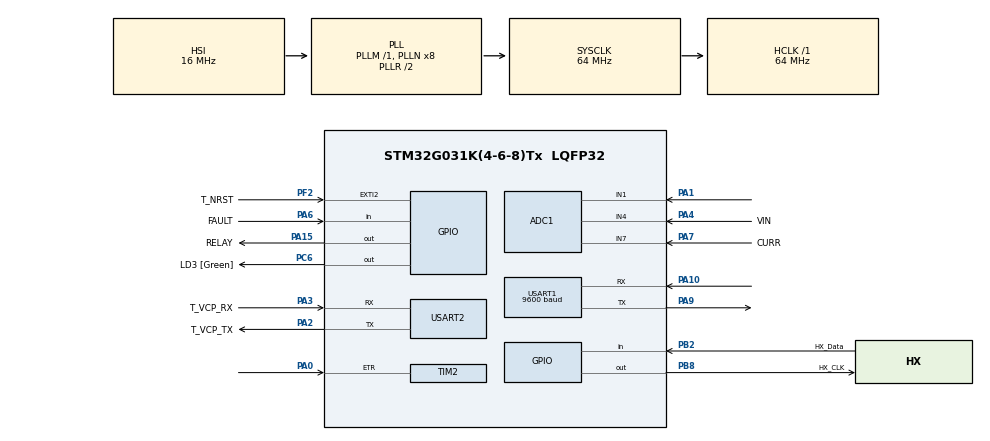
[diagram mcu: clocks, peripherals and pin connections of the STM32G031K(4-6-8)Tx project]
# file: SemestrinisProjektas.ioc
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ADC1.Channel-11\#ChannelRegularConversion=ADC_CHANNEL_1
ADC1.Channel-12\#ChannelRegularConversion=ADC_CHANNEL_7
ADC1.Channel-8\#ChannelRegularConversion=ADC_CHANNEL_4
ADC1.ContinuousConvMode=ENABLE
ADC1.EOCSelection=ADC_EOC_SINGLE_CONV
ADC1.NbrOfConversion=3
ADC1.NbrOfConversionFlag=1
ADC1.Rank-11\#ChannelRegularConversion=2
ADC1.Rank-12\#ChannelRegularConversion=3
ADC1.Rank-8\#ChannelRegularConversion=1
ADC1.SamplingTime-11\#ChannelRegularConversion=ADC_SAMPLINGTIME_COMMON_1
ADC1.SamplingTime-12\#ChannelRegularConversion=ADC_SAMPLINGTIME_COMMON_1
ADC1.SamplingTime-8\#ChannelRegularConversion=ADC_SAMPLINGTIME_COMMON_1
ADC1.SamplingTimeCommon1=ADC_SAMPLETIME_3CYCLES_5
ADC1.SamplingTimeCommon2=ADC_SAMPLETIME_3CYCLES_5
ADC1.SelectedChannel=ADC_CHANNEL_1|ADC_CHANNEL_4|ADC_CHANNEL_7
ADC1.master=1
Dma.ADC1.0.Direction=DMA_PERIPH_TO_MEMORY
Dma.ADC1.0.EventEnable=DISABLE
Dma.ADC1.0.Instance=DMA1_Channel1
Dma.ADC1.0.MemDataAlignment=DMA_MDATAALIGN_WORD
Dma.ADC1.0.MemInc=DMA_MINC_ENABLE
Dma.ADC1.0.Mode=DMA_CIRCULAR
Dma.ADC1.0.PeriphDataAlignment=DMA_PDATAALIGN_WORD
Dma.ADC1.0.PeriphInc=DMA_PINC_DISABLE
Dma.ADC1.0.Polarity=HAL_DMAMUX_REQ_GEN_RISING
Dma.ADC1.0.Priority=DMA_PRIORITY_LOW
Dma.ADC1.0.RequestNumber=1
Dma.ADC1.0.SignalID=NONE
Dma.ADC1.0.SyncEnable=DISABLE
Dma.ADC1.0.SyncPolarity=HAL_DMAMUX_SYNC_NO_EVENT
Dma.ADC1.0.SyncRequestNumber=1
Dma.ADC1.0.SyncSignalID=NONE
Dma.Request0=ADC1
Mcu.Family=STM32G0
Mcu.Name=STM32G031K(4-6-8)Tx
Mcu.Package=LQFP32
NVIC.DMA1_Channel1_IRQn=true\:0\:0\:false\:false\:true\:false\:true\:true
NVIC.TIM2_IRQn=true\:0\:0\:false\:false\:true\:true\:true\:true
NVIC.USART1_IRQn=true\:0\:0\:false\:false\:true\:true\:true\:true
NVIC.USART2_IRQn=true\:0\:0\:false\:false\:true\:true\:true\:true
PA0.Signal=S_TIM2_CH1_ETR
PA1.Mode=IN1
PA1.Signal=ADC1_IN1
PA10.Mode=Asynchronous
PA10.Signal=USART1_RX
PA13.GPIO_Label=T_JTMS
PA13.Mode=Serial_Wire
PA13.Signal=SYS_SWDIO
PA14-BOOT0.GPIO_Label=T_JTCK
PA14-BOOT0.Mode=Serial_Wire
PA14-BOOT0.Signal=SYS_SWCLK
PA15.GPIO_Label=RELAY
PA15.GPIO_ModeDefaultOutputPP=GPIO_MODE_OUTPUT_OD
PA15.GPIO_PuPd=GPIO_NOPULL
PA15.Signal=GPIO_Output
PA2.GPIO_Label=T_VCP_TX
PA2.GPIO_PuPd=GPIO_PULLUP
PA2.Mode=Asynchronous
PA2.Signal=USART2_TX
PA3.GPIO_Label=T_VCP_RX
PA3.GPIO_PuPd=GPIO_PULLUP
PA3.Mode=Asynchronous
PA3.Signal=USART2_RX
PA4.GPIO_Label=VIN
PA4.Mode=IN4
PA4.Signal=ADC1_IN4
PA6.GPIO_Label=FAULT
PA6.Signal=GPIO_Input
PA7.GPIO_Label=CURR
PA7.Mode=IN7
PA7.Signal=ADC1_IN7
PA9.Mode=Asynchronous
PA9.Signal=USART1_TX
PB2.GPIO_Label=HX_Data
PB2.Signal=GPIO_Input
PB8.GPIO_Label=HX_CLK
PB8.Signal=GPIO_Output
PC14-OSC32_IN\ (PC14).Mode=LSE-External-Oscillator
PC14-OSC32_IN\ (PC14).Signal=RCC_OSC32_IN
PC15-OSC32_OUT\ (PC15).Mode=LSE-External-Oscillator
PC15-OSC32_OUT\ (PC15).Signal=RCC_OSC32_OUT
PC6.GPIO_Label=LD3 [Green]
PC6.Signal=GPIO_Output
PF2\ -\ NRST.GPIO_Label=T_NRST
PF2\ -\ NRST.Signal=GPXTI2
ProjectManager.HeapSize=0x200
ProjectManager.StackSize=0x400
ProjectManager.TargetToolchain=STM32CubeIDE
RCC.ADCFreq_Value=64000000
RCC.AHBFreq_Value=64000000
RCC.CortexFreq_Value=64000000
RCC.EXTERNAL_CLOCK_VALUE=12288000
RCC.HCLKFreq_Value=64000000
RCC.HSE_VALUE=8000000
RCC.HSI_VALUE=16000000
RCC.SYSCLKFreq_VALUE=64000000
RCC.SYSCLKSource=RCC_SYSCLKSOURCE_PLLCLK
RCC.VCOOutputFreq_Value=128000000
SH.S_TIM2_CH1_ETR.0=TIM2_ETR,ClockSourceETR_Mode2
TIM16.Prescaler=6400-1
TIM17.Prescaler=6400-1
TIM2.AutoReloadPreload=TIM_AUTORELOAD_PRELOAD_ENABLE
USART1.BaudRate=9600
USART1.VirtualMode-Asynchronous=VM_ASYNC
USART2.VirtualMode-Asynchronous=VM_ASYNC
USART2.WordLength=WORDLENGTH_8B
VP_TIM16_VS_ClockSourceINT.Mode=Enable_Timer
VP_TIM17_VS_ClockSourceINT.Mode=Enable_Timer
board=NUCLEO-G031K8

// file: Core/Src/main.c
/* USER CODE BEGIN Header */
/**
  ******************************************************************************
  * @file           : main.c
  * @brief          : Main program body
  ******************************************************************************
  * @attention
  *
  * Copyright (c) 2024 STMicroelectronics.
  * All rights reserved.
  *
  * This software is licensed under terms that can be found in the LICENSE file
  * in the root directory of this software component.
  * If no LICENSE file comes with this software, it is provided AS-IS.
  *
  ******************************************************************************
  */
/* USER CODE END Header */
#include "main.h"

/* USER CODE BEGIN Includes */
#include "Nextion.h"
#include <HX711.h>
#include <stdio.h>
#include <math.h>
/* USER CODE END Includes */

ADC_HandleTypeDef hadc1;
DMA_HandleTypeDef hdma_adc1;

TIM_HandleTypeDef htim2;
TIM_HandleTypeDef htim16;
TIM_HandleTypeDef htim17;

UART_HandleTypeDef huart1;
UART_HandleTypeDef huart2;

void SystemClock_Config(void);
static void MX_GPIO_Init(void);
static void MX_DMA_Init(void);
static void MX_USART2_UART_Init(void);
static void MX_USART1_UART_Init(void);
static void MX_ADC1_Init(void);
static void MX_TIM2_Init(void);
static void MX_TIM16_Init(void);
static void MX_TIM17_Init(void);

/* USER CODE BEGIN 0 */

//NEXTION variables
Nextion nextion;

NexComp button1; //ON Button
NexComp button2; //Reset Button
NexComp nexText1;

NexComp currV; //current variable
NexComp tempV; //temperature variable
NexComp vinV; //VIN variable
NexComp RPMV; //RPM variable
NexComp TorqueV; //Torque variable

NexComp MaxcurrV; //MAX current variable
NexComp MaxRPMV; //RPM variable
NexComp MaxTorqueV; //Torque variable

hx711_t hx711;
hx711_t hx711b;

int example;
int abc;
char myChar[20];

uint32_t value[3];

uint8_t adc_conv_complete_flag = 0;

double MaxRPM=0, RPM; //RPM variables
const float encoder_koef = 1; //koef*period = pulses per second. Encoder - 100pulses / rotation
const uint32_t encoder_sample_period = 1000; //filtering period in ms

float Torque=0, MaxCurr=0, MaxTorque=0; //

float R1 = 100000; //100k resistor next to the thermistor. Thermistor is NTC3950 100k
float logR2, R2, T;
float c1 = 1.009249522e-03, c2 = 2.378405444e-04, c3 = 2.019202697e-07; //logorithms to convert ADC voltage to temperature

int avg_size = 10;
float V_0 = 3.3; // voltage reference

// first resistance value for voltage divider
float R_1 = 100000.0;
// fit coefficients
float a = 283786.2;
float b = 0.06593;
float c = 49886.0;

#define ADC_Res 4096 //12bit 2^12=4096

#define VIN_Max 16 //Max VIN of the resistor divider (R1 = 20k, R2 =5.1k) to have max 16v at 3.3vs
#define VIN_Step 0.00390625 // Vin_Max/ADC_Res

#define CurrDiv 0.068 //68mV is 1A of current
#define Curr_Ref 3005 //ADC while current is 0A

#define Vref_Step 0.0008076171875 //ADC on step voltage at 3.3Vref

#define ArmLength 5.3 //Arm length of the motor to press the loadcell

uint8_t data[100];
volatile uint8_t uart_tx_complete = 0;

void HAL_UART_TxCpltCallback(UART_HandleTypeDef *huart)
{
	if (huart->Instance == USART2) {
	        uart_tx_complete = 1;
	    }
}

void HAL_ADC_ConvCpltCallback(ADC_HandleTypeDef* hadc){
	adc_conv_complete_flag = 1;
}
void HAL_UART_RxCpltCallback(UART_HandleTypeDef *huart){
	NextionUpdate(&huart1, &nextion);
}
void buttonCallback(){
	HAL_GPIO_TogglePin(RELAY_GPIO_Port, RELAY_Pin);
}
void ResetVariable(){
	MaxRPM=0;
	MaxCurr=0;
	MaxTorque=0;
}

void init_weight(hx711_t *hx711){
	char buffer[128] = {0};
	sprintf(buffer,"HX711 initialization\n\r");
	HAL_UART_Transmit(&huart2, (uint8_t *)(buffer), sizeof(buffer), 100);
	hx711_init(hx711, GPIOB, GPIO_PIN_8, GPIOB, GPIO_PIN_2); //HX711 CLK on PA1, Data on PA4
	set_gain(hx711, 128, 32); //setting gain for ch A ir B
	set_scale(hx711, -225.245, -10.98); //scale factor
	tare_all(hx711, 10); //tare

	sprintf(buffer,"HX711 module has been initialized\n\r");
	HAL_UART_Transmit(&huart2, (uint8_t *)(buffer), sizeof(buffer), 100);
}

float measure_weight(hx711_t hx711){
	float weightA = 0;
	weightA = get_weight(&hx711, 1, CHANNEL_A); //measure weight
	weightA = (weightA < 0) ? 0 : weightA; //cannot get into negative
	return weightA;
}

void doEncoder(TIM_HandleTypeDef *htim){
	static uint32_t lastTicks = 0;
	static uint32_t lastCount = 0;
	uint32_t ticks = HAL_GetTick();

	if(ticks - lastTicks > encoder_sample_period){
		lastTicks = ticks;
		uint32_t count = TIM2->CNT;
		double tmp = count - lastCount;
		lastCount = count;
		RPM = (tmp / 100)*60; //Tmp 100==1rotation, *
	}
}

/* USER CODE END 0 */

int main(void)
{

  /* USER CODE BEGIN 1 */
	uint16_t timer_val;
	uint16_t timer1_val;
  /* USER CODE END 1 */

  /* MCU Configuration--------------------------------------------------------*/

  /* Reset of all peripherals, Initializes the Flash interface and the Systick. */
  HAL_Init();

  /* Configure the system clock */
  SystemClock_Config();

  /* Initialize all configured peripherals */
  MX_GPIO_Init();
  MX_DMA_Init();
  MX_USART2_UART_Init();
  MX_USART1_UART_Init();
  MX_ADC1_Init();
  MX_TIM2_Init();
  MX_TIM16_Init();
  MX_TIM17_Init();
  /* USER CODE BEGIN 2 */
  HAL_TIM_Base_Start_IT(&htim2);
  //HAL_TIM_Base_Start(&htim2);
  //HAL_TIM_Encoder_Start_IT(&htim2, TIM_CHANNEL_ALL);
  init_weight(&hx711);

  NextionInit(&nextion, &huart1);

  NextionAddComp(&nextion, &button1, "b0", 0, 1, buttonCallback, NULL); //ON button
  NextionAddComp(&nextion, &button2, "b1", 0, 5, ResetVariable, NULL); //Reset button
  NextionAddComp(&nextion, &currV, "t12", 0, 16, NULL, NULL); //Current variable
  NextionAddComp(&nextion, &tempV, "t10", 0, 14, NULL, NULL); //Temp variable
  NextionAddComp(&nextion, &vinV, "t11", 0, 15, NULL, NULL); //Vin variable
  NextionAddComp(&nextion, &RPMV, "t8", 0, 12, NULL, NULL); //RPM variable
  NextionAddComp(&nextion, &TorqueV, "t14", 0, 18, NULL, NULL); //Torque variable
  NextionAddComp(&nextion, &MaxcurrV, "t13", 0, 17, NULL, NULL); //Max current variable
  NextionAddComp(&nextion, &MaxRPMV, "t9", 0, 13, NULL, NULL); //Max RPM variable
  NextionAddComp(&nextion, &MaxTorqueV, "t15", 0, 19, NULL, NULL); //Max torque variable

  HAL_ADC_Start_DMA(&hadc1, value, 3); // start adc in DMA mode

  HAL_TIM_Base_Start(&htim16); //start nextion update timer
  timer_val = __HAL_TIM_GET_COUNTER(&htim16);

  HAL_TIM_Base_Start(&htim17); //start uart update timer
  timer1_val = __HAL_TIM_GET_COUNTER(&htim17);
  /* USER CODE END 2 */

  /* Infinite loop */
  /* USER CODE BEGIN WHILE */
  while (1)
  {
	//HAL_ADC_Start_DMA(&hadc1, value, 3);
    /* USER CODE END WHILE */

    /* USER CODE BEGIN 3 */
	 doEncoder(&htim2);

	  float weight = measure_weight(hx711);
	  Torque = weight/1000 * ArmLength;

	  HAL_ADC_Start_DMA(&hadc1, value, 3); // start adc in DMA mode
/*
	  R2 = R1 * (4096.0 / (float)value[1] - 1.0);
	  logR2 = log(R2);
	  T = (1.0 / (c1 + c2*logR2 + c3*logR2*logR2*logR2));
	  T = T - 273.15;
	  T = ((T * 9.0)/ 5.0 + 32.0) *-1;
	  */
	  float voltage = ((float)value[1]/4096.0)*V_0;
	  T=(-1.0/b)*(log(((R_1*voltage)/(a*(V_0-voltage)))-(c/a)));

	  float Vin = value[0] * VIN_Step; //convert ADC to voltage
	  float Curr = ((Curr_Ref*Vref_Step) - (value[2]*Vref_Step))/CurrDiv;

	  if(Curr > MaxCurr)
	  	MaxCurr = Curr;
	  if(RPM > MaxRPM)
	  	MaxRPM = RPM;
	  if(Torque > MaxTorque)
	  	MaxTorque = Torque;

	  if (__HAL_TIM_GET_COUNTER(&htim16) - timer_val >= 5000){ //64kHz/6400-1 =10kHz, update screen every x ms*10, so 500ms=5000
		  if(adc_conv_complete_flag == 1){
			  sprintf(myChar, "%0.2f", Torque);
			  NextionSetText(&nextion, &TorqueV, myChar);

			  sprintf(myChar, "%0.2f", Vin);
			  NextionSetText(&nextion, &vinV, myChar);
			  sprintf(myChar, "%0.2f", Curr);
			  NextionSetText(&nextion, &currV, myChar);
			  sprintf(myChar, "%0.1f", T);
			  NextionSetText(&nextion, &tempV, myChar);
			  sprintf(myChar, "%0.1f", RPM);
		  	  NextionSetText(&nextion, &RPMV, myChar);

		  	  sprintf(myChar, "%0.1f", MaxRPM);
		  	  NextionSetText(&nextion, &MaxRPMV, myChar);
		  	  sprintf(myChar, "%0.2f", MaxCurr);
		  	  NextionSetText(&nextion, &MaxcurrV, myChar);
		  	  sprintf(myChar, "%0.2f", MaxTorque);
		  	  NextionSetText(&nextion, &MaxTorqueV, myChar);

		  	  adc_conv_complete_flag = 0;
		  	  timer_val = __HAL_TIM_GET_COUNTER(&htim16);
		  }
	  }

	  if (__HAL_TIM_GET_COUNTER(&htim17) - timer1_val >= 1000){ //64kHz/6400-1 =10kHz, update screen every x ms*10, so 100ms=1000
		  snprintf(data, sizeof(data), "RPM: %.2f  Vin: %.2f Curr: %.2f Temp: %.2f\r\n", RPM, Vin, Curr, T);
		  HAL_UART_Transmit_IT(&huart2, (uint8_t*)data, strlen(data));
		  timer1_val = __HAL_TIM_GET_COUNTER(&htim17);
	  }
  }
  /* USER CODE END 3 */
}

void SystemClock_Config(void)
{
  RCC_OscInitTypeDef RCC_OscInitStruct = {0};
  RCC_ClkInitTypeDef RCC_ClkInitStruct = {0};

  /** Configure the main internal regulator output voltage
  */
  HAL_PWREx_ControlVoltageScaling(PWR_REGULATOR_VOLTAGE_SCALE1);

  /** Initializes the RCC Oscillators according to the specified parameters
  * in the RCC_OscInitTypeDef structure.
  */
  RCC_OscInitStruct.OscillatorType = RCC_OSCILLATORTYPE_HSI;
  RCC_OscInitStruct.HSIState = RCC_HSI_ON;
  RCC_OscInitStruct.HSIDiv = RCC_HSI_DIV1;
  RCC_OscInitStruct.HSICalibrationValue = RCC_HSICALIBRATION_DEFAULT;
  RCC_OscInitStruct.PLL.PLLState = RCC_PLL_ON;
  RCC_OscInitStruct.PLL.PLLSource = RCC_PLLSOURCE_HSI;
  RCC_OscInitStruct.PLL.PLLM = RCC_PLLM_DIV1;
  RCC_OscInitStruct.PLL.PLLN = 8;
  RCC_OscInitStruct.PLL.PLLP = RCC_PLLP_DIV2;
  RCC_OscInitStruct.PLL.PLLQ = RCC_PLLQ_DIV2;
  RCC_OscInitStruct.PLL.PLLR = RCC_PLLR_DIV2;
  if (HAL_RCC_OscConfig(&RCC_OscInitStruct) != HAL_OK)
  {
    Error_Handler();
  }

  /** Initializes the CPU, AHB and APB buses clocks
  */
  RCC_ClkInitStruct.ClockType = RCC_CLOCKTYPE_HCLK|RCC_CLOCKTYPE_SYSCLK
                              |RCC_CLOCKTYPE_PCLK1;
  RCC_ClkInitStruct.SYSCLKSource = RCC_SYSCLKSOURCE_PLLCLK;
  RCC_ClkInitStruct.AHBCLKDivider = RCC_SYSCLK_DIV1;
  RCC_ClkInitStruct.APB1CLKDivider = RCC_HCLK_DIV1;

  if (HAL_RCC_ClockConfig(&RCC_ClkInitStruct, FLASH_LATENCY_2) != HAL_OK)
  {
    Error_Handler();
  }
}

static void MX_ADC1_Init(void)
{

  ADC_ChannelConfTypeDef sConfig = {0};

  /** Configure the global features of the ADC (Clock, Resolution, Data Alignment and number of conversion)
  */
  hadc1.Instance = ADC1;
  hadc1.Init.ClockPrescaler = ADC_CLOCK_SYNC_PCLK_DIV2;
  hadc1.Init.Resolution = ADC_RESOLUTION_12B;
  hadc1.Init.DataAlign = ADC_DATAALIGN_RIGHT;
  hadc1.Init.ScanConvMode = ADC_SCAN_ENABLE;
  hadc1.Init.EOCSelection = ADC_EOC_SINGLE_CONV;
  hadc1.Init.LowPowerAutoWait = DISABLE;
  hadc1.Init.LowPowerAutoPowerOff = DISABLE;
  hadc1.Init.ContinuousConvMode = ENABLE;
  hadc1.Init.NbrOfConversion = 3;
  hadc1.Init.ExternalTrigConv = ADC_SOFTWARE_START;
  hadc1.Init.ExternalTrigConvEdge = ADC_EXTERNALTRIGCONVEDGE_NONE;
  hadc1.Init.DMAContinuousRequests = DISABLE;
  hadc1.Init.Overrun = ADC_OVR_DATA_PRESERVED;
  hadc1.Init.SamplingTimeCommon1 = ADC_SAMPLETIME_3CYCLES_5;
  hadc1.Init.SamplingTimeCommon2 = ADC_SAMPLETIME_3CYCLES_5;
  hadc1.Init.OversamplingMode = DISABLE;
  hadc1.Init.TriggerFrequencyMode = ADC_TRIGGER_FREQ_HIGH;
  if (HAL_ADC_Init(&hadc1) != HAL_OK)
  {
    Error_Handler();
  }

  /** Configure Regular Channel
  */
  sConfig.Channel = ADC_CHANNEL_4;
  sConfig.Rank = ADC_REGULAR_RANK_1;
  sConfig.SamplingTime = ADC_SAMPLINGTIME_COMMON_1;
  if (HAL_ADC_ConfigChannel(&hadc1, &sConfig) != HAL_OK)
  {
    Error_Handler();
  }

  /** Configure Regular Channel
  */
  sConfig.Channel = ADC_CHANNEL_1;
  sConfig.Rank = ADC_REGULAR_RANK_2;
  if (HAL_ADC_ConfigChannel(&hadc1, &sConfig) != HAL_OK)
  {
    Error_Handler();
  }

  /** Configure Regular Channel
  */
  sConfig.Channel = ADC_CHANNEL_7;
  sConfig.Rank = ADC_REGULAR_RANK_3;
  if (HAL_ADC_ConfigChannel(&hadc1, &sConfig) != HAL_OK)
  {
    Error_Handler();
  }

}

static void MX_TIM2_Init(void)
{

  TIM_ClockConfigTypeDef sClockSourceConfig = {0};
  TIM_MasterConfigTypeDef sMasterConfig = {0};

  htim2.Instance = TIM2;
  htim2.Init.Prescaler = 0;
  htim2.Init.CounterMode = TIM_COUNTERMODE_UP;
  htim2.Init.Period = 4294967295;
  htim2.Init.ClockDivision = TIM_CLOCKDIVISION_DIV1;
  htim2.Init.AutoReloadPreload = TIM_AUTORELOAD_PRELOAD_ENABLE;
  if (HAL_TIM_Base_Init(&htim2) != HAL_OK)
  {
    Error_Handler();
  }
  sClockSourceConfig.ClockSource = TIM_CLOCKSOURCE_ETRMODE2;
  sClockSourceConfig.ClockPolarity = TIM_CLOCKPOLARITY_NONINVERTED;
  sClockSourceConfig.ClockPrescaler = TIM_CLOCKPRESCALER_DIV1;
  sClockSourceConfig.ClockFilter = 0;
  if (HAL_TIM_ConfigClockSource(&htim2, &sClockSourceConfig) != HAL_OK)
  {
    Error_Handler();
  }
  sMasterConfig.MasterOutputTrigger = TIM_TRGO_RESET;
  sMasterConfig.MasterSlaveMode = TIM_MASTERSLAVEMODE_DISABLE;
  if (HAL_TIMEx_MasterConfigSynchronization(&htim2, &sMasterConfig) != HAL_OK)
  {
    Error_Handler();
  }

}

static void MX_TIM16_Init(void)
{

  htim16.Instance = TIM16;
  htim16.Init.Prescaler = 6400-1;
  htim16.Init.CounterMode = TIM_COUNTERMODE_UP;
  htim16.Init.Period = 65535;
  htim16.Init.ClockDivision = TIM_CLOCKDIVISION_DIV1;
  htim16.Init.RepetitionCounter = 0;
  htim16.Init.AutoReloadPreload = TIM_AUTORELOAD_PRELOAD_DISABLE;
  if (HAL_TIM_Base_Init(&htim16) != HAL_OK)
  {
    Error_Handler();
  }

}

static void MX_TIM17_Init(void)
{

  htim17.Instance = TIM17;
  htim17.Init.Prescaler = 6400-1;
  htim17.Init.CounterMode = TIM_COUNTERMODE_UP;
  htim17.Init.Period = 65535;
  htim17.Init.ClockDivision = TIM_CLOCKDIVISION_DIV1;
  htim17.Init.RepetitionCounter = 0;
  htim17.Init.AutoReloadPreload = TIM_AUTORELOAD_PRELOAD_DISABLE;
  if (HAL_TIM_Base_Init(&htim17) != HAL_OK)
  {
    Error_Handler();
  }

}

static void MX_USART1_UART_Init(void)
{

  huart1.Instance = USART1;
  huart1.Init.BaudRate = 9600;
  huart1.Init.WordLength = UART_WORDLENGTH_8B;
  huart1.Init.StopBits = UART_STOPBITS_1;
  huart1.Init.Parity = UART_PARITY_NONE;
  huart1.Init.Mode = UART_MODE_TX_RX;
  huart1.Init.HwFlowCtl = UART_HWCONTROL_NONE;
  huart1.Init.OverSampling = UART_OVERSAMPLING_16;
  huart1.Init.OneBitSampling = UART_ONE_BIT_SAMPLE_DISABLE;
  huart1.Init.ClockPrescaler = UART_PRESCALER_DIV1;
  huart1.AdvancedInit.AdvFeatureInit = UART_ADVFEATURE_NO_INIT;
  if (HAL_UART_Init(&huart1) != HAL_OK)
  {
    Error_Handler();
  }
  if (HAL_UARTEx_SetTxFifoThreshold(&huart1, UART_TXFIFO_THRESHOLD_1_8) != HAL_OK)
  {
    Error_Handler();
  }
  if (HAL_UARTEx_SetRxFifoThreshold(&huart1, UART_RXFIFO_THRESHOLD_1_8) != HAL_OK)
  {
    Error_Handler();
  }
  if (HAL_UARTEx_DisableFifoMode(&huart1) != HAL_OK)
  {
    Error_Handler();
  }

}

static void MX_USART2_UART_Init(void)
{

  huart2.Instance = USART2;
  huart2.Init.BaudRate = 115200;
  huart2.Init.WordLength = UART_WORDLENGTH_8B;
  huart2.Init.StopBits = UART_STOPBITS_1;
  huart2.Init.Parity = UART_PARITY_NONE;
  huart2.Init.Mode = UART_MODE_TX_RX;
  huart2.Init.HwFlowCtl = UART_HWCONTROL_NONE;
  huart2.Init.OverSampling = UART_OVERSAMPLING_16;
  huart2.Init.OneBitSampling = UART_ONE_BIT_SAMPLE_DISABLE;
  huart2.Init.ClockPrescaler = UART_PRESCALER_DIV1;
  huart2.AdvancedInit.AdvFeatureInit = UART_ADVFEATURE_NO_INIT;
  if (HAL_UART_Init(&huart2) != HAL_OK)
  {
    Error_Handler();
  }

}

static void MX_DMA_Init(void)
{

  /* DMA controller clock enable */
  __HAL_RCC_DMA1_CLK_ENABLE();

  /* DMA interrupt init */
  /* DMA1_Channel1_IRQn interrupt configuration */
  HAL_NVIC_SetPriority(DMA1_Channel1_IRQn, 0, 0);
  HAL_NVIC_EnableIRQ(DMA1_Channel1_IRQn);

}

static void MX_GPIO_Init(void)
{
  GPIO_InitTypeDef GPIO_InitStruct = {0};

  /* GPIO Ports Clock Enable */
  __HAL_RCC_GPIOC_CLK_ENABLE();
  __HAL_RCC_GPIOF_CLK_ENABLE();
  __HAL_RCC_GPIOA_CLK_ENABLE();
  __HAL_RCC_GPIOB_CLK_ENABLE();

  /*Configure GPIO pin Output Level */
  HAL_GPIO_WritePin(LD3_GPIO_Port, LD3_Pin, GPIO_PIN_RESET);

  /*Configure GPIO pin Output Level */
  HAL_GPIO_WritePin(RELAY_GPIO_Port, RELAY_Pin, GPIO_PIN_RESET);

  /*Configure GPIO pin Output Level */
  HAL_GPIO_WritePin(HX_CLK_GPIO_Port, HX_CLK_Pin, GPIO_PIN_RESET);

  /*Configure GPIO pin : T_NRST_Pin */
  GPIO_InitStruct.Pin = T_NRST_Pin;
  GPIO_InitStruct.Mode = GPIO_MODE_IT_RISING;
  GPIO_InitStruct.Pull = GPIO_NOPULL;
  HAL_GPIO_Init(T_NRST_GPIO_Port, &GPIO_InitStruct);

  /*Configure GPIO pin : FAULT_Pin */
  GPIO_InitStruct.Pin = FAULT_Pin;
  GPIO_InitStruct.Mode = GPIO_MODE_INPUT;
  GPIO_InitStruct.Pull = GPIO_NOPULL;
  HAL_GPIO_Init(FAULT_GPIO_Port, &GPIO_InitStruct);

  /*Configure GPIO pin : HX_Data_Pin */
  GPIO_InitStruct.Pin = HX_Data_Pin;
  GPIO_InitStruct.Mode = GPIO_MODE_INPUT;
  GPIO_InitStruct.Pull = GPIO_NOPULL;
  HAL_GPIO_Init(HX_Data_GPIO_Port, &GPIO_InitStruct);

  /*Configure GPIO pin : LD3_Pin */
  GPIO_InitStruct.Pin = LD3_Pin;
  GPIO_InitStruct.Mode = GPIO_MODE_OUTPUT_PP;
  GPIO_InitStruct.Pull = GPIO_NOPULL;
  GPIO_InitStruct.Speed = GPIO_SPEED_FREQ_LOW;
  HAL_GPIO_Init(LD3_GPIO_Port, &GPIO_InitStruct);

  /*Configure GPIO pin : RELAY_Pin */
  GPIO_InitStruct.Pin = RELAY_Pin;
  GPIO_InitStruct.Mode = GPIO_MODE_OUTPUT_OD;
  GPIO_InitStruct.Pull = GPIO_NOPULL;
  GPIO_InitStruct.Speed = GPIO_SPEED_FREQ_LOW;
  HAL_GPIO_Init(RELAY_GPIO_Port, &GPIO_InitStruct);

  /*Configure GPIO pin : HX_CLK_Pin */
  GPIO_InitStruct.Pin = HX_CLK_Pin;
  GPIO_InitStruct.Mode = GPIO_MODE_OUTPUT_PP;
  GPIO_InitStruct.Pull = GPIO_NOPULL;
  GPIO_InitStruct.Speed = GPIO_SPEED_FREQ_LOW;
  HAL_GPIO_Init(HX_CLK_GPIO_Port, &GPIO_InitStruct);

}

void Error_Handler(void)
{
  __disable_irq();
  while (1)
  {
  }
}
